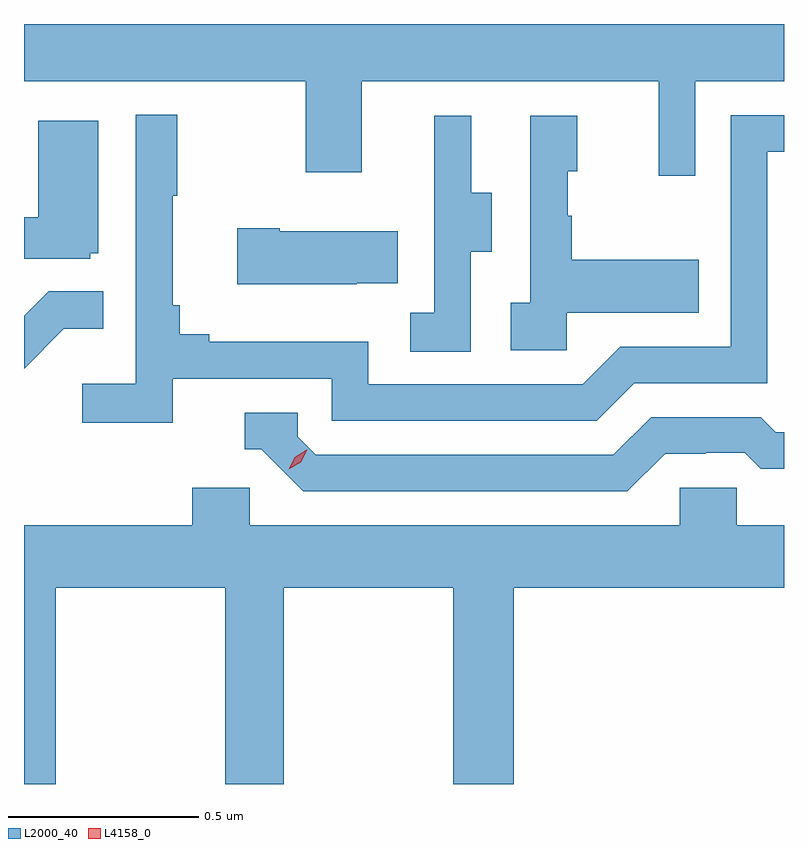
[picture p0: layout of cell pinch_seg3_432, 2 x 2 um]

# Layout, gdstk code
import gdstk
lib = gdstk.Library(unit=1e-6, precision=1e-09)
def P(c, l, *ps):  # polygons
    for p in ps: c.add(gdstk.Polygon(p, *l))
L2000_40 = (2000, 40)
L4158_0 = (4158, 0)

pinch_seg3_432 = lib.new_cell('pinch_seg3_432')
P(pinch_seg3_432, L2000_40, [(910.995,688.928),(911.228,688.928),(911.228,689.079),(909.228,689.079),(909.228,688.928),(909.97,688.928),(909.97,688.689),(910.117,688.689),(910.117,688.928),(910.898,688.928),(910.898,688.68),(910.995,688.68)],
  [(909.62,688.146),(910.038,688.146),(910.038,688.035),(910.735,688.035),(910.834,688.134),(911.184,688.134),(911.184,688.743),(911.228,688.743),(911.228,688.839),(911.088,688.839),(911.088,688.23),(910.797,688.23),(910.698,688.131),(910.134,688.131),(910.134,688.243),(909.715,688.243),(909.715,688.262),(909.638,688.262),(909.638,688.339),(909.619,688.339),(909.619,688.627),(909.631,688.627),(909.631,688.84),(909.522,688.84),(909.522,688.132),(909.381,688.132),(909.381,688.03),(909.62,688.03)],
  [(910.404,688.48),(910.459,688.48),(910.459,688.635),(910.405,688.635),(910.405,688.837),(910.307,688.837),(910.307,688.623),(910.308,688.623),(910.308,688.319),(910.245,688.319),(910.245,688.216),(910.404,688.216)],
  [(910.656,688.319),(911.003,688.319),(911.003,688.459),(910.669,688.459),(910.669,688.574),(910.659,688.574),(910.659,688.692),(910.684,688.692),(910.684,688.837),(910.56,688.837),(910.56,688.346),(910.509,688.346),(910.509,688.221),(910.656,688.221)],
  [(909.402,688.476),(909.424,688.476),(909.424,688.825),(909.266,688.825),(909.266,688.57),(909.228,688.57),(909.228,688.461),(909.402,688.461)],
  [(910.103,688.397),(910.211,688.397),(910.211,688.534),(909.901,688.534),(909.901,688.542),(909.789,688.542),(909.789,688.394),(910.103,688.394)],
  [(909.333,688.277),(909.437,688.277),(909.437,688.376),(909.293,688.376),(909.228,688.311),(909.228,688.172)],
  [(910.915,687.948),(911.022,687.948),(911.022,687.951),(911.125,687.951),(911.167,687.909),(911.228,687.909),(911.228,688.005),(911.206,688.005),(911.167,688.044),(910.878,688.044),(910.779,687.945),(909.996,687.945),(909.948,687.993),(909.948,688.056),(909.809,688.056),(909.809,687.96),(909.852,687.96),(909.963,687.849),(910.816,687.849)],
  [(909.312,687.596),(909.757,687.596),(909.757,687.079),(909.912,687.079),(909.912,687.596),(910.357,687.596),(910.357,687.079),(910.517,687.079),(910.517,687.596),(911.228,687.596),(911.228,687.76),(911.103,687.76),(911.103,687.858),(910.953,687.858),(910.953,687.76),(909.822,687.76),(909.822,687.858),(909.671,687.858),(909.671,687.76),(909.228,687.76),(909.228,687.079),(909.312,687.079)])
P(pinch_seg3_432, L4158_0, [(909.925,687.907),(909.925,687.907),(909.941,687.939),(909.972,687.958),(909.973,687.958),(909.973,687.958),(909.956,687.926),(909.925,687.907)])

lib.write_gds('pinch_seg3_432.gds')
